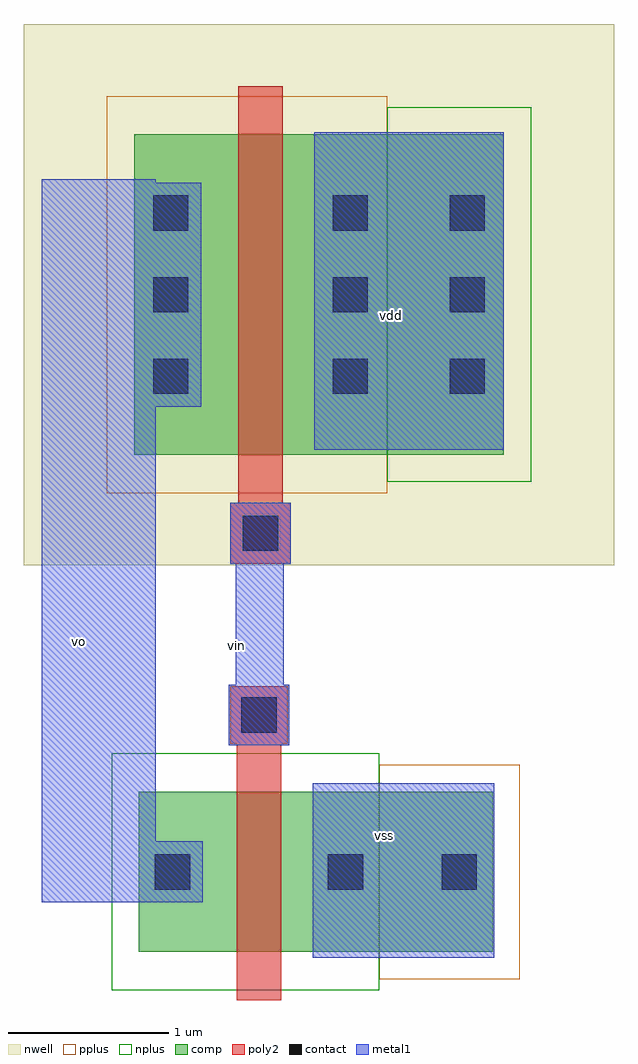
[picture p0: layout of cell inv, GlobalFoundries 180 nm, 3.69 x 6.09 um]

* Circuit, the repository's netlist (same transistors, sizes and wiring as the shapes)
** sch_path: /foss/designs/inv.sch
.subckt inv vdd vi vo vss
*.PININFO vdd:B vss:B vi:I vo:O
M1 vo vi vss vss nfet_03v3 L=0.28u W=1u nf=1
M2 vo vi vdd vdd pfet_03v3 L=0.28u W=2u nf=1
.ends

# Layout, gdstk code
import gdstk
lib = gdstk.Library(unit=1e-6, precision=5e-09)
def R(c, l, rs):  # rectangles x0, y0, x1, y1
    for r in rs: c.add(gdstk.rectangle(r[:2], r[2:], *l))
def A(c, l, x, y, w, h, nx, ny, dx, dy):  # array of equal rectangles
    R(c, l, [(x+i*dx, y+j*dy, x+i*dx+w, y+j*dy+h) for i in range(nx) for j in range(ny)])
nwell = (21, 0)
comp = (22, 0)
poly2 = (30, 0)
pplus = (31, 0)
nplus = (32, 0)
contact = (33, 0)
metal1 = (34, 0)

nfet = lib.new_cell('nfet')
R(nfet, comp, [(-0.42,0,0,1), (0,0,0.66,1), (0.66,0,1.08,1), (1.08,0,1.79,1)])
R(nfet, poly2, [(0.19,-0.3,0.47,1.3), (0.15,1.3,0.51,1.66)])
R(nfet, pplus, [(1.08,-0.17,1.96,1.17)])
R(nfet, nplus, [(-0.59,-0.24,1.08,1.24)])
R(nfet, contact, [(-0.32,0.39,-0.1,0.61), (0.76,0.39,0.98,0.61), (1.47,0.39,1.69,0.61), (0.22,1.37,0.44,1.59)])
R(nfet, metal1, [(-0.4,0.31,-0.02,0.69), (0.68,0.31,1.06,0.69), (1.39,0.31,1.77,0.69), (0.14,1.29,0.52,1.67)])

pfet = lib.new_cell('pfet')
R(pfet, nwell, [(-1.15,-0.69,2.54,2.69)])
R(pfet, comp, [(-0.46,0,0,2), (0,0,0.66,2), (0.66,0,1.12,2), (1.12,0,1.85,2)])
R(pfet, poly2, [(0.14,-0.68,0.52,-0.3), (0.19,-0.3,0.47,2.3)])
R(pfet, pplus, [(-0.63,-0.24,1.12,2.24)])
R(pfet, nplus, [(1.12,-0.17,2.02,2.17)])
A(pfet, contact, -0.34, 0.38, 0.22, 0.22, 1, 3, 0, 0.51)
A(pfet, contact, 0.78, 0.38, 0.22, 0.22, 1, 3, 0, 0.51)
A(pfet, contact, 1.51, 0.38, 0.22, 0.22, 1, 3, 0, 0.51)
R(pfet, contact, [(0.22,-0.6,0.44,-0.38)])
R(pfet, metal1, [(0.14,-0.68,0.52,-0.3), (-0.42,0.3,-0.04,1.7), (0.7,0.3,1.08,1.7), (1.43,0.3,1.81,1.7)])

inv = lib.new_cell('inv')
R(inv, metal1, [(0.32,-0.25,1.455,0.84), (-1.37,0.095,-0.66,4.61), (0.33,2.92,1.515,4.905)])
inv.add(gdstk.FlexPath([(-0.01,1.275),(-0.01,2.425),(0.035,2.425)], 0.3, ends="flush", simple_path=True, layer=34, datatype=0))  # metal1
inv.add(gdstk.Reference(nfet, (-0.345,-0.215)))
inv.add(gdstk.Reference(pfet, (-0.335,2.89)))
inv.add(gdstk.Label('vo', (-1.145,1.725), layer=34, texttype=10))
inv.add(gdstk.Label('vss', (0.77,0.51), layer=34, texttype=10))
inv.add(gdstk.Label('vdd', (0.815,3.76), layer=34, texttype=10))
inv.add(gdstk.Label('vin', (-0.155,1.7), layer=34, texttype=10))

lib.write_gds('inv.gds')
